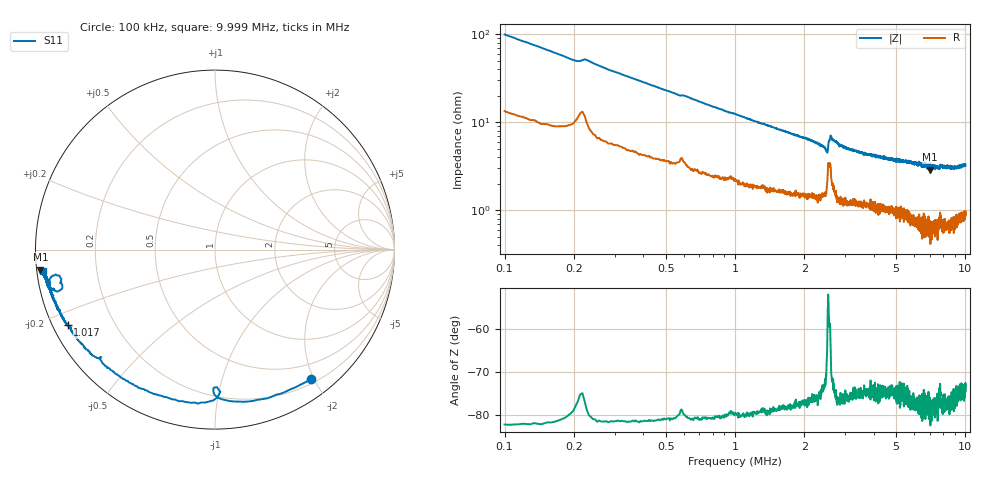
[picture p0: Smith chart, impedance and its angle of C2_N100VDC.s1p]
# HZ S RI R 50
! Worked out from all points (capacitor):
!   2020 points, 100 kHz to 9.999 MHz, reference 50 ohm
!   read as one part to ground: C = 14.7 nF near 149 kHz
!   lowest |Z| = 2.9 ohm at 7.038 MHz (marker M1)
!   S11 on the Smith chart (normalised r, x): 100 kHz: 0.27, -1.96; 1.017 MHz: 0.04, -0.24; 9.999 MHz: 0.02, -0.06
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100000  0.5361 -0.7187
124515  0.3981 -0.7894
153933  0.2346 -0.8374
178448  0.1128 -0.8464
232381  -0.00889 -0.8399
281411  -0.1996 -0.8448
330441  -0.3184 -0.8099
428501  -0.4961 -0.7306
526561  -0.6016 -0.6526
693263  -0.7169 -0.5558
825644  -0.772 -0.4902
1016861  -0.8208 -0.4199
1340459  -0.8689 -0.3417
1767020  -0.904 -0.2659
2335768  -0.9234 -0.2006
2463246  -0.921 -0.1798
2502470  -0.9166 -0.1585
2541694  -0.8619 -0.1564
2576015  -0.8618 -0.1859
2644657  -0.8994 -0.2219
2816262  -0.9279 -0.2034
3816474  -0.945 -0.1608
5052030  -0.9509 -0.1363
6287586  -0.9616 -0.1226
7037745  -0.9723 -0.1111
7528045  -0.9702 -0.1211
8763601  -0.966 -0.1172
9999157  -0.9587 -0.119
